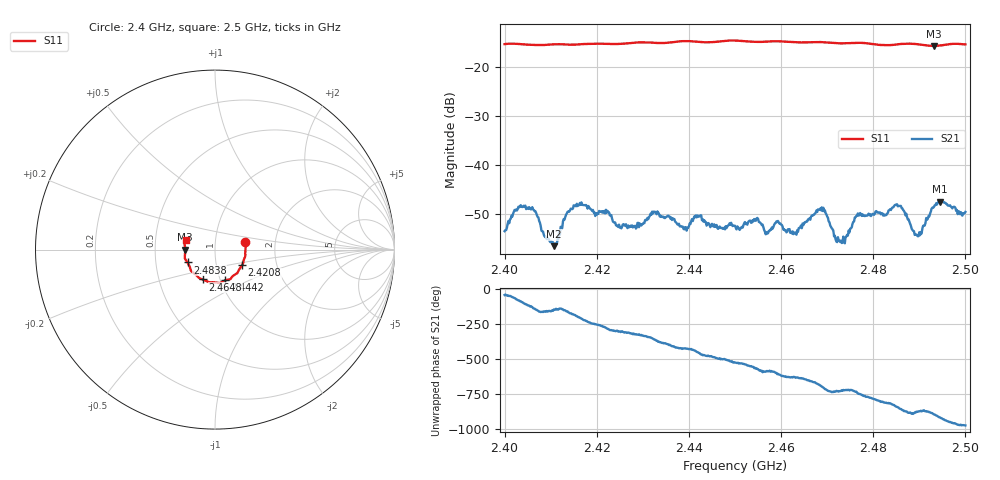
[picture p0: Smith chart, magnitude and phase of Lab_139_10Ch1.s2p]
# Hz S RI R 50
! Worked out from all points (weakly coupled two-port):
!   601 points, 2.4 GHz to 2.5 GHz, reference 50 ohm
!   highest |S21| = -47.45 dB at 2.4945 GHz (marker M1); lowest = -56.6 dB at 2.4107 GHz (marker M2)
!   lowest |S11| = -15.6 dB at 2.4932 GHz (marker M3), VSWR 1.40, Z = 35.8 - j0.0881 ohm
!   |S11| at or under -10 dB: start of sweep to end of sweep
!   S12 and S22 are empty: the file has one direction only
!   S11 on the Smith chart (normalised r, x): 2.4 GHz: 1.40, +0.12; 2.4208 GHz: 1.33, -0.24; 2.4442 GHz: 1.05, -0.37; 2.4648 GHz: 0.83, -0.28; 2.4838 GHz: 0.73, -0.11; 2.5 GHz: 0.72, +0.08
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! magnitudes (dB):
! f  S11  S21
! 2.4 GHz  -15.3  -53.5
! 2.404 GHz  -15.3  -48.5
! 2.4107 GHz  -15.3  -56.6
! 2.4138 GHz  -15.4  -49.5
! 2.4167 GHz  -15.3  -47.6
! 2.4208 GHz  -15.2  -49.5
! 2.425 GHz  -15.2  -52.8
! 2.4333 GHz  -15.0  -49.7
! 2.4442 GHz  -14.9  -51.8
! 2.45 GHz  -14.5  -52.4
! 2.4648 GHz  -14.9  -52.3
! 2.4667 GHz  -14.8  -50.3
! 2.4693 GHz  -14.9  -49.4
! 2.4733 GHz  -15.1  -55.9
! 2.4767 GHz  -15.0  -49.9
! 2.4833 GHz  -15.5  -49.3
! 2.4838 GHz  -15.4  -49.2
! 2.4862 GHz  -15.2  -48.8
! 2.4897 GHz  -15.3  -54.5
! 2.4932 GHz  -15.6  -48.5
! 2.4945 GHz  -15.5  -47.4
! 2.5 GHz  -15.3  -49.6
